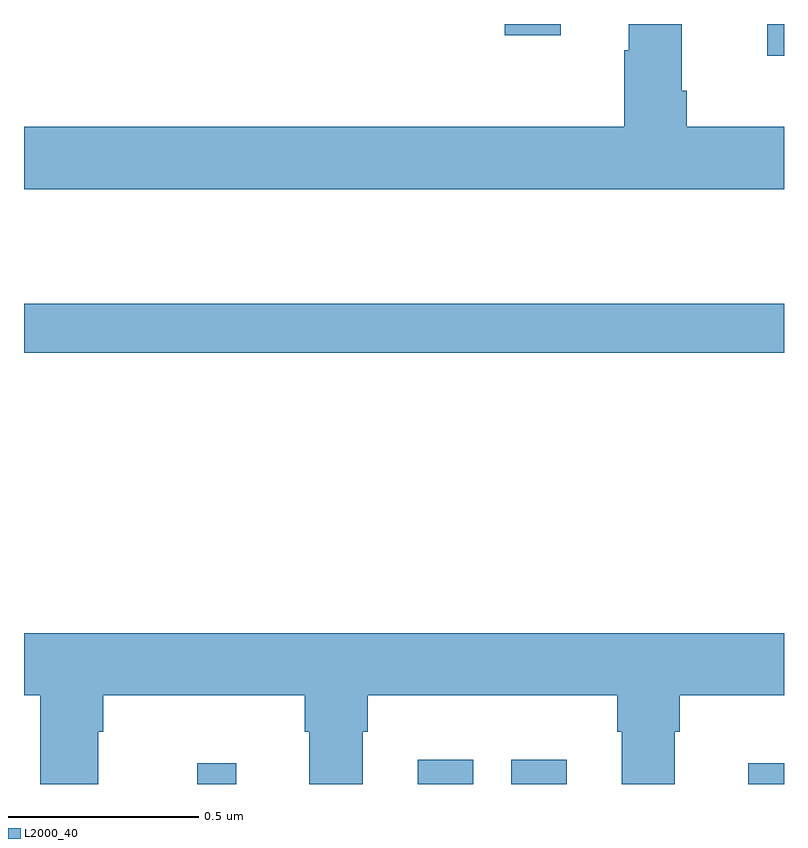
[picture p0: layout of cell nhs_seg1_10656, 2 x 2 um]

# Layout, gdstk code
import gdstk
lib = gdstk.Library(unit=1e-6, precision=1e-09)
def R(c, l, rs):  # rectangles x0, y0, x1, y1
    for r in rs: c.add(gdstk.rectangle(r[:2], r[2:], *l))
def P(c, l, *ps):  # polygons
    for p in ps: c.add(gdstk.Polygon(p, *l))
L2000_40 = (2000, 40)

nhs_seg1_10656 = lib.new_cell('nhs_seg1_10656')
R(nhs_seg1_10656, L2000_40, [(244.456,518.199,244.559,518.254), (245.036,518.199,245.182,518.263), (245.282,518.199,245.428,518.263), (245.906,518.199,246,518.254), (244,519.334,246,519.463), (245.956,520.115,246,520.199), (245.265,520.17,245.413,520.199)])
P(nhs_seg1_10656, L2000_40, [(246,519.928),(245.744,519.928),(245.744,520.024),(245.731,520.024),(245.731,520.199),(245.591,520.199),(245.591,520.13),(245.579,520.13),(245.579,519.928),(244,519.928),(244,519.764),(246,519.764)],
  [(244,518.432),(244.043,518.432),(244.043,518.199),(244.195,518.199),(244.195,518.336),(244.208,518.336),(244.208,518.432),(244.739,518.432),(244.739,518.336),(244.751,518.336),(244.751,518.199),(244.891,518.199),(244.891,518.336),(244.904,518.336),(244.904,518.432),(245.561,518.432),(245.561,518.336),(245.573,518.336),(245.573,518.199),(245.713,518.199),(245.713,518.336),(245.726,518.336),(245.726,518.432),(246,518.432),(246,518.596),(244,518.596)])

lib.write_gds('nhs_seg1_10656.gds')
